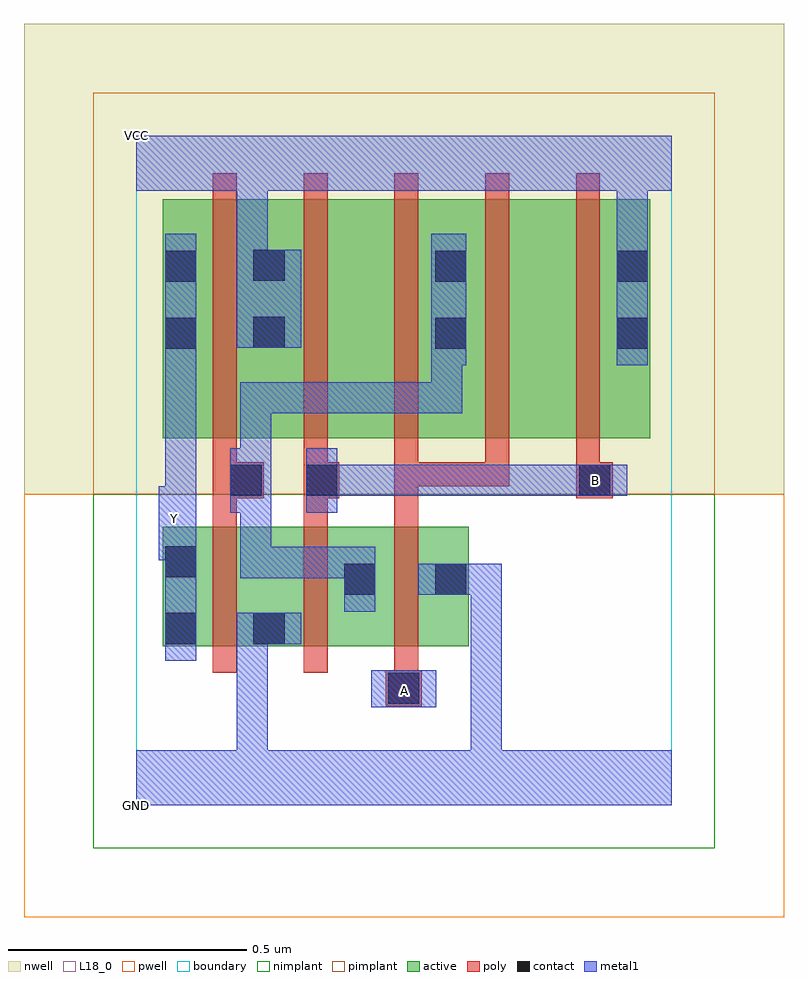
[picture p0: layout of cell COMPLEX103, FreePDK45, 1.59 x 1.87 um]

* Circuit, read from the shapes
.subckt COMPLEX103 A B GND VCC Y
M1 GND n1 Y VSUBS nfet w=0.25u l=0.05u
M2 n1 B GND VSUBS nfet w=0.25u l=0.05u
M3 GND A n1 VSUBS nfet w=0.25u l=0.05u
M4 VCC n1 Y n2 pfet w=0.5u l=0.05u
M5 n3 B VCC n2 pfet w=0.5u l=0.05u
M6 n1 A n3 n2 pfet w=0.5u l=0.05u
M7 n4 A n1 n2 pfet w=0.5u l=0.05u
M8 VCC B n4 n2 pfet w=0.5u l=0.05u
.ends

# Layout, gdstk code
import gdstk
lib = gdstk.Library(unit=1e-6, precision=1e-09)
def R(c, l, rs):  # rectangles x0, y0, x1, y1
    for r in rs: c.add(gdstk.rectangle(r[:2], r[2:], *l))
def A(c, l, x, y, w, h, nx, ny, dx, dy):  # array of equal rectangles
    R(c, l, [(x+i*dx, y+j*dy, x+i*dx+w, y+j*dy+h) for i in range(nx) for j in range(ny)])
active = (1, 0)
pwell = (2, 0)
nwell = (3, 0)
nimplant = (4, 0)
pimplant = (5, 0)
poly = (9, 0)
contact = (10, 0)
metal1 = (11, 0)
L18_0 = (18, 0)
boundary = (235, 0)

complex103 = lib.new_cell('COMPLEX103')
R(complex103, active, [(0.055,0.332,0.13,0.582), (0.055,0.332,0.315,0.582), (0.24,0.332,0.505,0.582), (0.24,0.332,0.315,0.497), (0.43,0.332,0.695,0.582), (0.43,0.332,0.505,0.51), (0.62,0.332,0.695,0.582), (0.055,0.767,0.315,1.267), (0.055,0.767,0.13,1.2), (0.24,0.767,0.47,1.267), (0.47,0.767,0.695,1.267), (0.62,0.767,0.85,1.267), (0.85,0.767,1.075,1.267), (1,0.767,1.075,1.205), (0.24,0.807,0.315,1.205), (0.62,0.807,0.695,1.2)])
R(complex103, pwell, [(-0.235,-0.235,1.355,0.65)])
R(complex103, nwell, [(-0.235,0.65,1.355,1.635)])
R(complex103, nimplant, [(-0.09,-0.09,1.21,0.65)])
R(complex103, pimplant, [(-0.09,0.65,1.21,1.49)])
A(complex103, poly, 0.16, 0.277, 0.05, 0.36, 3, 1, 0.19, 0)
A(complex103, poly, 0.16, 0.667, 0.05, 0.095, 5, 1, 0.19, 0)
A(complex103, poly, 0.16, 0.712, 0.05, 0.61, 5, 1, 0.19, 0)
R(complex103, poly, [(0.522,0.207,0.597,0.282), (0.54,0.232,0.59,0.327), (0.16,0.587,0.21,0.692), (0.35,0.587,0.4,0.692), (0.54,0.587,0.59,0.717), (0.16,0.642,0.267,0.717), (0.35,0.642,0.425,0.717), (0.92,0.642,0.997,0.717), (0.54,0.667,0.59,0.717), (0.54,0.667,0.78,0.717), (0.73,0.667,0.78,0.717), (0.73,0.667,0.78,0.717), (0.73,0.667,0.78,0.717)])
R(complex103, contact, [(0.527,0.212,0.592,0.277), (0.06,0.337,0.125,0.402), (0.245,0.337,0.31,0.402), (0.435,0.44,0.5,0.505), (0.625,0.44,0.69,0.505), (0.06,0.477,0.125,0.542), (0.197,0.647,0.262,0.712), (0.355,0.647,0.42,0.712), (0.927,0.647,0.992,0.712), (0.06,0.955,0.125,1.02), (0.625,0.955,0.69,1.02), (1.005,0.955,1.07,1.02), (0.245,0.957,0.31,1.022), (0.06,1.095,0.125,1.16), (0.625,1.095,0.69,1.16), (1.005,1.095,1.07,1.16), (0.245,1.097,0.31,1.162)])
R(complex103, metal1, [(0,0,1.12,0.115), (0.21,0.05,0.275,0.115), (0.21,0.05,0.275,0.115), (0.21,0.05,0.275,0.402), (0.7,0.05,0.765,0.505), (0.492,0.205,0.627,0.282), (0.06,0.302,0.125,0.577), (0.21,0.337,0.275,0.402), (0.21,0.337,0.275,0.402), (0.21,0.337,0.275,0.402), (0.21,0.337,0.275,0.402), (0.21,0.337,0.345,0.402), (0.435,0.405,0.5,0.54), (0.59,0.44,0.765,0.505), (0.7,0.44,0.765,0.505), (0.7,0.44,0.765,0.505), (0.7,0.44,0.765,0.505), (0.7,0.44,0.765,0.505), (0.7,0.44,0.765,0.505), (0.7,0.44,0.765,0.505), (0.217,0.475,0.282,0.54), (0.217,0.475,0.42,0.54), (0.217,0.475,0.282,0.747), (0.355,0.475,0.42,0.54), (0.355,0.475,0.5,0.54), (0.047,0.512,0.125,0.667), (0.06,0.512,0.125,0.577), (0.06,0.602,0.125,0.985), (0.197,0.612,0.262,0.747), (0.355,0.612,0.42,0.747), (0.355,0.647,0.42,0.712), (0.355,0.647,0.42,0.712), (0.355,0.647,0.627,0.712), (0.562,0.647,0.627,0.712), (0.562,0.647,0.627,0.712), (0.562,0.647,0.627,0.712), (0.562,0.647,0.82,0.712), (0.755,0.647,0.82,0.712), (0.755,0.647,0.82,0.712), (0.755,0.647,0.82,0.712), (0.755,0.647,0.957,0.712), (0.892,0.647,1.027,0.712), (0.197,0.682,0.282,0.747), (0.217,0.682,0.282,0.747), (0.217,0.682,0.282,0.885), (0.217,0.82,0.282,0.885), (0.217,0.82,0.42,0.885), (0.355,0.82,0.42,0.885), (0.355,0.82,0.42,0.885), (0.355,0.82,0.42,0.885), (0.355,0.82,0.682,0.885), (0.617,0.82,0.682,0.985), (0.06,0.92,0.125,1.195), (0.617,0.92,0.682,0.985), (0.617,0.92,0.69,1.195), (1.005,0.92,1.07,1.195), (0.21,0.957,0.345,1.162), (0.21,1.097,0.275,1.35), (1.005,1.13,1.07,1.35), (0,1.285,1.12,1.4), (0.21,1.285,0.275,1.35), (0.21,1.285,0.275,1.35), (1.005,1.285,1.07,1.35), (1.005,1.285,1.07,1.35)])
R(complex103, L18_0, [(0,0,1.12,0.115), (0.21,0.05,0.275,0.115), (0.21,0.05,0.275,0.115), (0.21,0.05,0.275,0.402), (0.7,0.05,0.765,0.505), (0.492,0.205,0.627,0.282), (0.527,0.207,0.592,0.272), (0.06,0.302,0.125,0.577), (0.21,0.337,0.275,0.402), (0.21,0.337,0.275,0.402), (0.21,0.337,0.275,0.402), (0.21,0.337,0.275,0.402), (0.21,0.337,0.345,0.402), (0.59,0.44,0.765,0.505), (0.7,0.44,0.765,0.505), (0.7,0.44,0.765,0.505), (0.7,0.44,0.765,0.505), (0.7,0.44,0.765,0.505), (0.7,0.44,0.765,0.505), (0.7,0.44,0.765,0.505), (0.047,0.512,0.125,0.667), (0.06,0.512,0.125,0.577), (0.047,0.567,0.112,0.632), (0.06,0.602,0.125,0.985), (0.355,0.612,0.42,0.747), (0.355,0.647,0.42,0.712), (0.355,0.647,0.42,0.712), (0.355,0.647,0.627,0.712), (0.562,0.647,0.627,0.712), (0.562,0.647,0.627,0.712), (0.562,0.647,0.627,0.712), (0.562,0.647,0.82,0.712), (0.755,0.647,0.82,0.712), (0.755,0.647,0.82,0.712), (0.755,0.647,0.82,0.712), (0.755,0.647,0.957,0.712), (0.892,0.647,1.027,0.712), (0.927,0.647,0.992,0.712), (0.06,0.92,0.125,1.195), (1.005,0.92,1.07,1.195), (0.21,0.957,0.345,1.162), (0.21,1.097,0.275,1.35), (1.005,1.13,1.07,1.35), (0,1.285,1.12,1.4), (0.21,1.285,0.275,1.35), (0.21,1.285,0.275,1.35), (1.005,1.285,1.07,1.35), (1.005,1.285,1.07,1.35)])
R(complex103, boundary, [(0,0,1.12,1.4)])
complex103.add(gdstk.Label('A', (0.56,0.24), layer=11, texttype=0))
complex103.add(gdstk.Label('B', (0.96,0.68), layer=11, texttype=0))
complex103.add(gdstk.Label('Y', (0.08,0.6), layer=11, texttype=0))
complex103.add(gdstk.Label('VCC', (0,1.4), layer=11, texttype=0))
complex103.add(gdstk.Label('GND', (0,0), layer=11, texttype=0))

lib.write_gds('COMPLEX103.gds')
